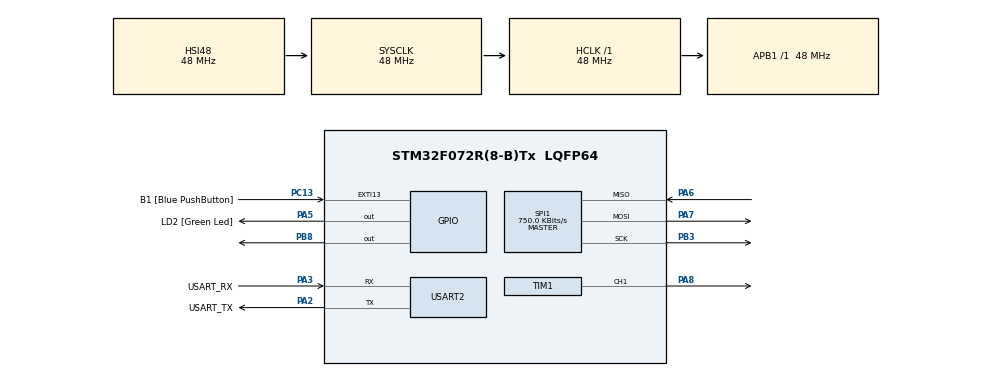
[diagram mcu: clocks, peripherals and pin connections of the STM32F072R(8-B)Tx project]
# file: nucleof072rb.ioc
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Mcu.Family=STM32F0
Mcu.Name=STM32F072R(8-B)Tx
Mcu.Package=LQFP64
PA13.GPIO_Label=TMS
PA13.Mode=Serial_Wire
PA13.Signal=SYS_SWDIO
PA14.GPIO_Label=TCK
PA14.Mode=Serial_Wire
PA14.Signal=SYS_SWCLK
PA2.GPIO_Label=USART_TX
PA2.GPIO_Mode=GPIO_MODE_AF_PP
PA2.GPIO_PuPd=GPIO_NOPULL
PA2.GPIO_Speed=GPIO_SPEED_FREQ_LOW
PA2.Mode=Asynchronous
PA2.Signal=USART2_TX
PA3.GPIO_Label=USART_RX
PA3.GPIO_Mode=GPIO_MODE_AF_PP
PA3.GPIO_PuPd=GPIO_NOPULL
PA3.GPIO_Speed=GPIO_SPEED_FREQ_LOW
PA3.Mode=Asynchronous
PA3.Signal=USART2_RX
PA5.GPIO_Label=LD2 [Green Led]
PA5.GPIO_Mode=GPIO_MODE_OUTPUT_PP
PA5.GPIO_PuPd=GPIO_NOPULL
PA5.GPIO_Speed=GPIO_SPEED_FREQ_LOW
PA5.Signal=GPIO_Output
PA6.Mode=Full_Duplex_Master
PA6.Signal=SPI1_MISO
PA7.Mode=Full_Duplex_Master
PA7.Signal=SPI1_MOSI
PA8.Signal=S_TIM1_CH1
PB3.Mode=Full_Duplex_Master
PB3.Signal=SPI1_SCK
PB8.Signal=GPIO_Output
PC13.GPIO_Label=B1 [Blue PushButton]
PC13.GPIO_ModeDefaultEXTI=GPIO_MODE_IT_FALLING
PC13.Signal=GPXTI13
PC14-OSC32_IN.Mode=LSE-External-Oscillator
PC14-OSC32_IN.Signal=RCC_OSC32_IN
PC15-OSC32_OUT.Mode=LSE-External-Oscillator
PC15-OSC32_OUT.Signal=RCC_OSC32_OUT
PF0-OSC_IN.Mode=HSE-External-Clock-Source
PF0-OSC_IN.Signal=RCC_OSC_IN
PF1-OSC_OUT.Signal=RCC_OSC_OUT
ProjectManager.HeapSize=0x200
ProjectManager.StackSize=0x400
ProjectManager.TargetToolchain=STM32CubeIDE
RCC.AHBFreq_Value=48000000
RCC.APB1Freq_Value=48000000
RCC.APB1TimFreq_Value=48000000
RCC.FLatency-AdvancedSettings=FLASH_LATENCY_1
RCC.HCLKFreq_Value=48000000
RCC.PLLDivider=RCC_PREDIV_DIV2
RCC.PLLMUL=RCC_PLL_MUL12
RCC.PREFETCH_ENABLE-AdvancedSettings=1
RCC.SYSCLKFreq_VALUE=48000000
RCC.SYSCLKSource=RCC_SYSCLKSOURCE_HSI48
SH.S_TIM1_CH1.0=TIM1_CH1,PWM Generation1 CH1
SPI1.BaudRatePrescaler=SPI_BAUDRATEPRESCALER_64
SPI1.CalculateBaudRate=750.0 KBits/s
SPI1.DataSize=SPI_DATASIZE_8BIT
SPI1.Direction=SPI_DIRECTION_2LINES
SPI1.Mode=SPI_MODE_MASTER
SPI1.VirtualType=VM_MASTER
TIM1.Channel-PWM\ Generation1\ CH1=TIM_CHANNEL_1
TIM1.Period=\ 64000
TIM1.Prescaler=14
USART2.VirtualMode=VM_ASYNC
USART2.VirtualMode-Asynchronous=VM_ASYNC
VP_TIM1_VS_ClockSourceINT.Mode=Internal
board=NUCLEO-F072RB

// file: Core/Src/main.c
/* USER CODE BEGIN Header */
/**
  ******************************************************************************
  * @file           : main.c
  * @brief          : Main program body
  ******************************************************************************
  * @attention
  *
  * <h2><center>&copy; Copyright (c) 2021 STMicroelectronics.
  * All rights reserved.</center></h2>
  *
  * This software component is licensed by ST under BSD 3-Clause license,
  * the "License"; You may not use this file except in compliance with the
  * License. You may obtain a copy of the License at:
  *                        opensource.org/licenses/BSD-3-Clause
  *
  ******************************************************************************
  */
/* USER CODE END Header */
#include "main.h"
#include "spi.h"
#include "tim.h"
#include "usart.h"
#include "gpio.h"

/* USER CODE BEGIN PD */
// timer ticks at 48MHz / (14+1) = 3.2MHz, so 64000 counts = 20ms (50Hz)
#define PWM_MIN_COUNTS 3200 // 1 ms
#define PWM_MAX_COUNTS 6400 // 2 ms
#define ADC_MAX 1023 // 10 bit max
#define ADC_SPI_FRAME_SIZE 3 // start bit + control byte + dummy byte
/* USER CODE END PD */

void SystemClock_Config(void);

int main(void)
{

  /* MCU Configuration--------------------------------------------------------*/

  /* Reset of all peripherals, Initializes the Flash interface and the Systick. */
  HAL_Init();

  /* Configure the system clock */
  SystemClock_Config();

  /* Initialize all configured peripherals */
  MX_GPIO_Init();
  MX_USART2_UART_Init();
  MX_SPI1_Init();
  MX_TIM1_Init();
  /* USER CODE BEGIN 2 */
  HAL_TIM_PWM_Start(&htim1, TIM_CHANNEL_1);
  HAL_GPIO_WritePin(GPIOB, GPIO_PIN_8, GPIO_PIN_SET); // CS idles high

  // start bit, SGL=1 + channel 0 (pot is on CH0), dummy byte for rest of the result
  // only needs to be set up once, not every loop
  uint8_t tx[ADC_SPI_FRAME_SIZE] = {0x01, 0x80, 0x00};
  uint8_t rx[ADC_SPI_FRAME_SIZE];
  HAL_StatusTypeDef spi_status;

  /* USER CODE END 2 */

  /* Infinite loop */
  while (1)
  {
    /* USER CODE BEGIN 3 */
    // adc only listens while CS is low
    HAL_GPIO_WritePin(GPIOB, GPIO_PIN_8, GPIO_PIN_RESET);
    spi_status = HAL_SPI_TransmitReceive(&hspi1, tx, rx, ADC_SPI_FRAME_SIZE, HAL_MAX_DELAY);
    HAL_GPIO_WritePin(GPIOB, GPIO_PIN_8, GPIO_PIN_SET);

    // let us know during debugging if the SPI transaction failed
    if (spi_status != HAL_OK)
    {
      Error_Handler();
    }

    // B9 and B8 are the low 2 bits of rx[1] and B7 B0 are rx[2] so theyre 0 to 1023 together
    uint16_t adc = ((rx[1] & 0x03) << 8) | rx[2];

    // map 0-1023 to 1 to 2 ms
    uint32_t counts = PWM_MIN_COUNTS + (uint32_t)adc * (PWM_MAX_COUNTS - PWM_MIN_COUNTS) / ADC_MAX;
    __HAL_TIM_SET_COMPARE(&htim1, TIM_CHANNEL_1, counts);

    HAL_Delay(10);

  }
  /* USER CODE END 3 */
}

void SystemClock_Config(void)
{
  RCC_OscInitTypeDef RCC_OscInitStruct = {0};
  RCC_ClkInitTypeDef RCC_ClkInitStruct = {0};
  RCC_PeriphCLKInitTypeDef PeriphClkInit = {0};

  /** Initializes the RCC Oscillators according to the specified parameters
  * in the RCC_OscInitTypeDef structure.
  */
  RCC_OscInitStruct.OscillatorType = RCC_OSCILLATORTYPE_HSI48;
  RCC_OscInitStruct.HSI48State = RCC_HSI48_ON;
  RCC_OscInitStruct.PLL.PLLState = RCC_PLL_NONE;
  if (HAL_RCC_OscConfig(&RCC_OscInitStruct) != HAL_OK)
  {
    Error_Handler();
  }

  /** Initializes the CPU, AHB and APB buses clocks
  */
  RCC_ClkInitStruct.ClockType = RCC_CLOCKTYPE_HCLK|RCC_CLOCKTYPE_SYSCLK
                              |RCC_CLOCKTYPE_PCLK1;
  RCC_ClkInitStruct.SYSCLKSource = RCC_SYSCLKSOURCE_HSI48;
  RCC_ClkInitStruct.AHBCLKDivider = RCC_SYSCLK_DIV1;
  RCC_ClkInitStruct.APB1CLKDivider = RCC_HCLK_DIV1;

  if (HAL_RCC_ClockConfig(&RCC_ClkInitStruct, FLASH_LATENCY_1) != HAL_OK)
  {
    Error_Handler();
  }
  PeriphClkInit.PeriphClockSelection = RCC_PERIPHCLK_USART2;
  PeriphClkInit.Usart2ClockSelection = RCC_USART2CLKSOURCE_PCLK1;
  if (HAL_RCCEx_PeriphCLKConfig(&PeriphClkInit) != HAL_OK)
  {
    Error_Handler();
  }
}

void Error_Handler(void)
{
  __disable_irq();
  while (1)
  {
  }
}
